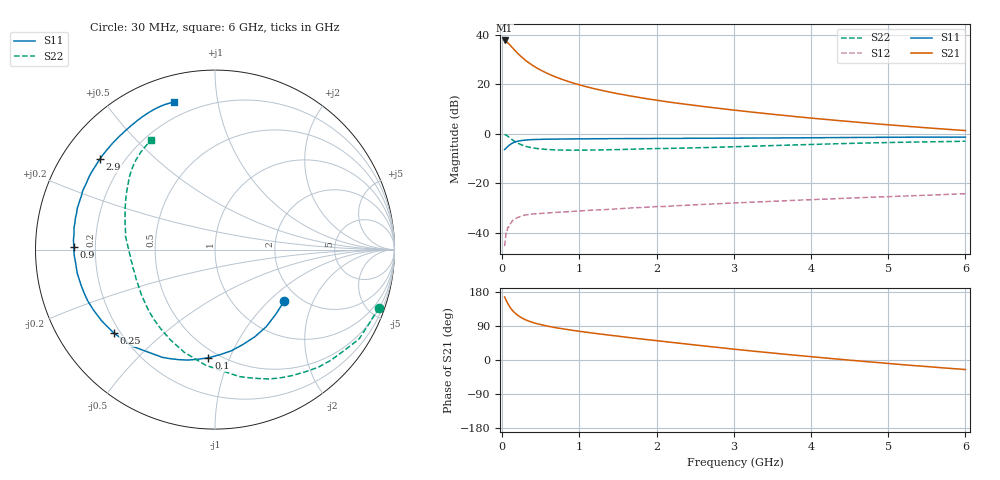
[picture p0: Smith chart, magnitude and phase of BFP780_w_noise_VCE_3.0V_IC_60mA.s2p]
! Infineon Technologies  Discrete & RF Semiconductors
! BFP780
! VCE =  3.0 V,  IC =  60 mA
! Common Emitter S-Parameters:  Jul 2015
# GHz  S  MA  R  50
!  f  S11  S21  S12  S22
! GHz  MAG  ANG  MAG  ANG  MAG  ANG  MAG  ANG
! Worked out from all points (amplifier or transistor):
!   75 points, 30 MHz to 6 GHz, reference 50 ohm
!   highest |S21| = 37.7 dB at 30 MHz (marker M1)
!   |S21| within 3 dB of that: start of sweep to 133.1 MHz
!   unconditionally stable (mu >= 1): 1.922 GHz to end of sweep
!   at 150 MHz: K = 0.13, MSG = 34.3 dB, |S12| = -34.6 dB
!   at 2.3 GHz: K = 1.09, MAG = 18.8 dB, |S12| = -29.0 dB
!   at 6 GHz: K = 1.29, MAG = 9.5 dB, |S12| = -24.2 dB
!   lowest NFmin = 1.52 dB at 450 MHz
!   S11 on the Smith chart (normalised r, x): 30 MHz: 1.69, -1.25; 100 MHz: 0.44, -0.84; 250 MHz: 0.17, -0.35; 900 MHz: 0.12, +0.01; 2.9 GHz: 0.11, +0.34; 6 GHz: 0.12, +0.75
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0.03  0.4803 -36.3  76.31 166.3  0.0054 76.3  0.9688 -19.5
0.05  0.5157 -56.3  72.94 157.3  0.0106 74.9  0.9444 -31.9
0.06  0.5339 -65.4  70.92 153.4  0.0105 69.7  0.914 -37.8
0.08  0.5711 -80.8  66.35 145.9  0.0129 62.7  0.8718 -48.8
0.1  0.604 -93.5  61.51 139.5  0.0147 53.5  0.8225 -58.6
0.12  0.6341 -103.9  56.87 133.8  0.0163 47.4  0.7794 -67.6
0.15  0.6684 -116.1  50.55 126.8  0.0187 42.5  0.7199 -79.2
0.2  0.7084 -130.5  41.89 118.0  0.0205 36.0  0.6464 -94.6
0.25  0.7309 -140.5  35.44 111.3  0.0221 31.8  0.597 -106.7
0.3  0.7461 -148.0  30.43 106.2  0.023 29.6  0.5599 -116.6
0.35  0.7564 -153.7  26.59 102.1  0.0237 26.7  0.5344 -124.5
0.45  0.7684 -161.8  21.14 95.8  0.0243 23.9  0.5046 -136.3
0.6  0.7787 -170.2  16.06 88.9  0.0253 22.5  0.481 -148.7
0.9  0.7865 179.0  10.77 78.6  0.0271 21.9  0.466 -163.7
1.1  0.7901 173.7  8.798 73.0  0.0284 22.4  0.4677 -170.3
1.5  0.7972 165.3  6.422 62.9  0.0306 23.3  0.4796 -179.7
2.1  0.8065 154.6  4.505 48.7  0.0341 23.8  0.5042 170.2
2.9  0.8156 141.7  3.132 30.8  0.0395 23.3  0.5415 157.7
3.1  0.8184 138.8  2.888 26.6  0.0408 22.9  0.5534 154.7
4.1  0.8328 124.8  2.007 6.9  0.0476 20.9  0.6145 141.6
5.1  0.8517 113.6  1.476 -10.8  0.0546 16.9  0.6698 130.3
6  0.8549 105.6  1.16 -25.2  0.0618 12.1  0.7061 120.2
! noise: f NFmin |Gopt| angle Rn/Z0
0.45  1.52  0.42  178  0.07
0.9  1.57  0.46  -170  0.08
1.5  1.63  0.48  -162  0.08
1.8  1.8  0.49  -154  0.09
2.4  1.92  0.5  -147  0.13
3  2.2  0.51  -138  0.18
3.5  2.67  0.56  -122  0.29
